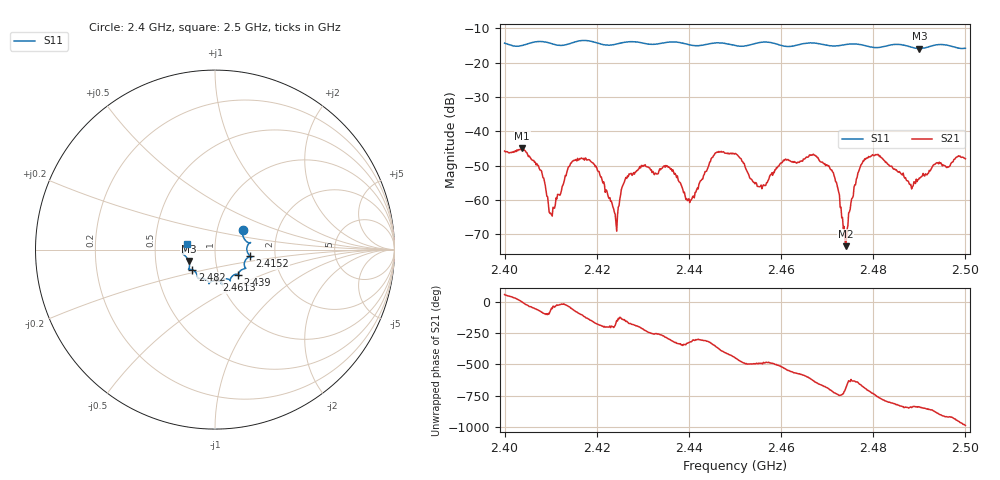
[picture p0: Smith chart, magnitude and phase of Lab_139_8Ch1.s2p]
# Hz S RI R 50
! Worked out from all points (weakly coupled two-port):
!   601 points, 2.4 GHz to 2.5 GHz, reference 50 ohm
!   highest |S21| = -45.02 dB at 2.4038 GHz (marker M1); lowest = -73.5 dB at 2.474 GHz (marker M2)
!   lowest |S11| = -15.9 dB at 2.49 GHz (marker M3), VSWR 1.38, Z = 37 - j4.8 ohm
!   |S11| at or under -10 dB: start of sweep to end of sweep
!   S12 and S22 are empty: the file has one direction only
!   S11 on the Smith chart (normalised r, x): 2.4 GHz: 1.33, +0.31; 2.4152 GHz: 1.48, -0.11; 2.439 GHz: 1.24, -0.36; 2.4613 GHz: 0.96, -0.34; 2.482 GHz: 0.76, -0.17; 2.5 GHz: 0.73, +0.05
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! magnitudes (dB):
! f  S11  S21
! 2.4 GHz  -14.4  -45.8
! 2.4038 GHz  -15.0  -45.0
! 2.4077 GHz  -13.9  -51.3
! 2.4102 GHz  -14.5  -64.3
! 2.4152 GHz  -14.1  -48.5
! 2.4167 GHz  -13.6  -47.8
! 2.42 GHz  -14.3  -50.7
! 2.424 GHz  -14.7  -64.2
! 2.4268 GHz  -14.0  -53.2
! 2.4333 GHz  -14.5  -52.4
! 2.439 GHz  -14.5  -57.7
! 2.45 GHz  -15.0  -46.5
! 2.4553 GHz  -14.2  -56.2
! 2.4613 GHz  -15.3  -48.3
! 2.4667 GHz  -14.3  -47.0
! 2.4715 GHz  -15.2  -53.0
! 2.474 GHz  -14.8  -73.5
! 2.4773 GHz  -14.8  -49.8
! 2.482 GHz  -15.4  -48.0
! 2.4833 GHz  -15.0  -49.7
! 2.49 GHz  -15.9  -53.6
! 2.5 GHz  -15.8  -48.0
